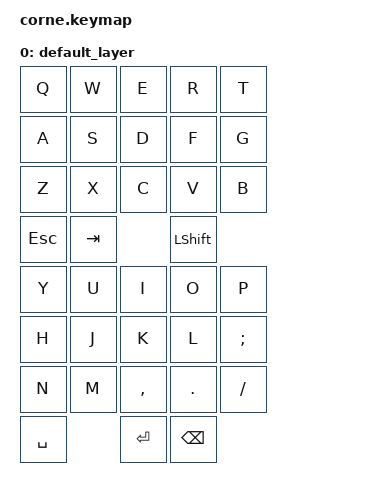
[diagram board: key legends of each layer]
#include <behaviors.dtsi>
#include <dt-bindings/zmk/keys.h>

/ {
    keymap {
        compatible = "zmk,keymap";

        default_layer {
            bindings = <
                // Left hand
                &kp Q &kp W &kp E &kp R &kp T
                &kp A &kp S &kp D &kp F &kp G
                &kp Z &kp X &kp C &kp V &kp B
                &kp ESC &kp TAB &kp LSHFT
                
                // Right hand
                &kp Y &kp U &kp I &kp O &kp P
                &kp H &kp J &kp K &kp L &kp SEMI
                &kp N &kp M &kp COMMA &kp DOT &kp SLASH
                &kp SPACE &kp RET &kp BSPC
            >;
        };
    };
};
